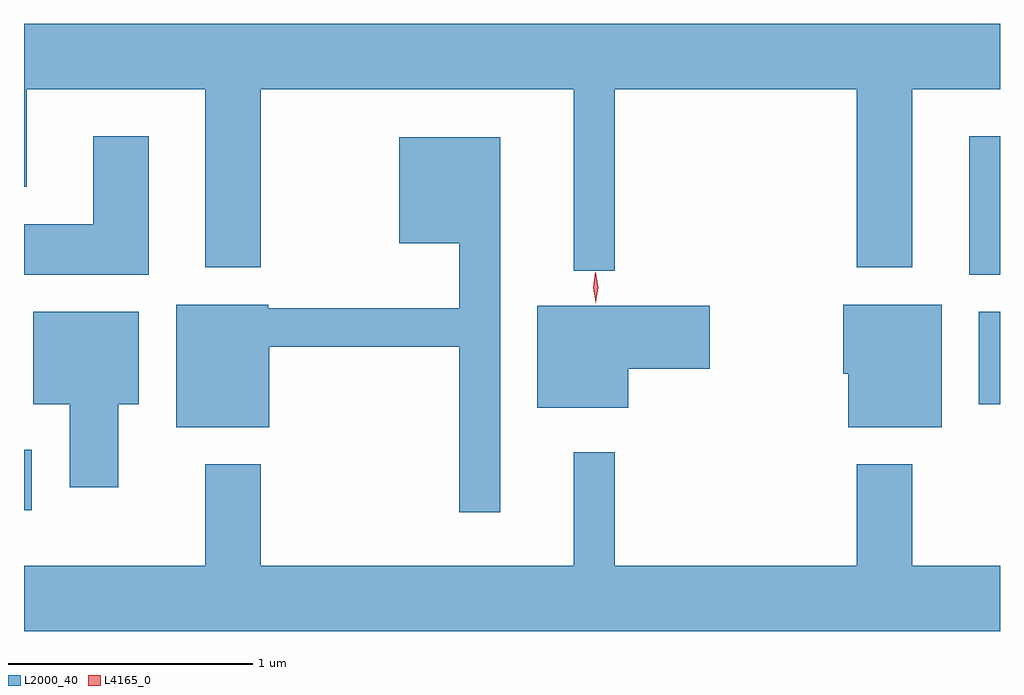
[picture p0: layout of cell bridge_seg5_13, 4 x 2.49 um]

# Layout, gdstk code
import gdstk
lib = gdstk.Library(unit=1e-6, precision=1e-09)
def R(c, l, rs):  # rectangles x0, y0, x1, y1
    for r in rs: c.add(gdstk.rectangle(r[:2], r[2:], *l))
def P(c, l, *ps):  # polygons
    for p in ps: c.add(gdstk.Polygon(p, *l))
L2000_40 = (2000, 40)
L4165_0 = (4165, 0)

bridge_seg5_13 = lib.new_cell('bridge_seg5_13')
R(bridge_seg5_13, L2000_40, [(1257.528,1526.111,1257.559,1526.359), (1261.441,1526.546,1261.528,1526.924), (1261.401,1527.076,1261.528,1527.644)])
P(bridge_seg5_13, L2000_40, [(1259.949,1527.836),(1260.941,1527.836),(1260.941,1527.106),(1261.169,1527.106),(1261.169,1527.836),(1261.528,1527.836),(1261.528,1528.104),(1257.528,1528.104),(1257.528,1527.436),(1257.539,1527.436),(1257.539,1527.836),(1258.271,1527.836),(1258.271,1527.106),(1258.499,1527.106),(1258.499,1527.836),(1259.781,1527.836),(1259.781,1527.093),(1259.949,1527.093)],
  [(1258.039,1527.644),(1257.811,1527.644),(1257.811,1527.284),(1257.528,1527.284),(1257.528,1527.076),(1258.039,1527.076)],
  [(1259.479,1527.639),(1259.066,1527.639),(1259.066,1527.206),(1259.311,1527.206),(1259.311,1526.939),(1258.53,1526.939),(1258.53,1526.954),(1258.151,1526.954),(1258.151,1526.451),(1258.534,1526.451),(1258.534,1526.781),(1259.311,1526.781),(1259.311,1526.103),(1259.479,1526.103)],
  [(1261.289,1526.954),(1260.886,1526.954),(1260.886,1526.671),(1260.906,1526.671),(1260.906,1526.451),(1261.289,1526.451)],
  [(1260.004,1526.691),(1260.339,1526.691),(1260.339,1526.949),(1259.631,1526.949),(1259.631,1526.531),(1260.004,1526.531)],
  [(1257.914,1526.546),(1257.999,1526.546),(1257.999,1526.924),(1257.566,1526.924),(1257.566,1526.546),(1257.716,1526.546),(1257.716,1526.206),(1257.914,1526.206)],
  [(1261.528,1525.884),(1261.169,1525.884),(1261.169,1526.299),(1260.941,1526.299),(1260.941,1525.884),(1259.949,1525.884),(1259.949,1526.348),(1259.781,1526.348),(1259.781,1525.884),(1258.499,1525.884),(1258.499,1526.299),(1258.271,1526.299),(1258.271,1525.884),(1257.528,1525.884),(1257.528,1525.616),(1261.528,1525.616)])
P(bridge_seg5_13, L4165_0, [(1259.872,1526.96),(1259.871,1526.961),(1259.861,1527.023),(1259.87,1527.086),(1259.87,1527.087),(1259.871,1527.086),(1259.881,1527.024),(1259.872,1526.961)])

lib.write_gds('bridge_seg5_13.gds')
